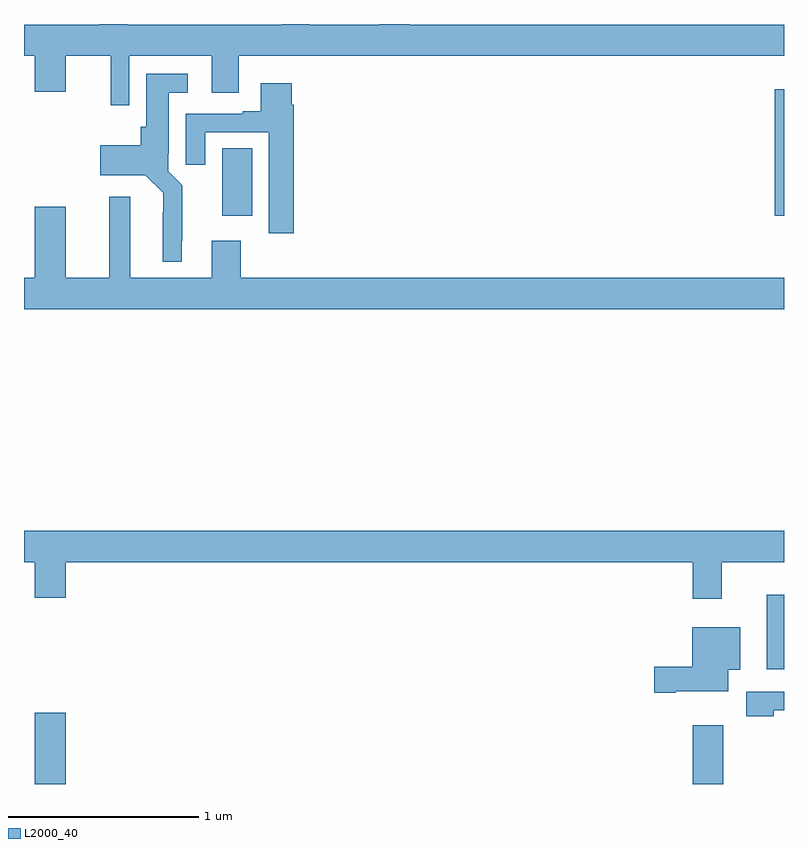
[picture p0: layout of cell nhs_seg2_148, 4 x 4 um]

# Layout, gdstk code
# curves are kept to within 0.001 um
import gdstk
lib = gdstk.Library(unit=1e-6, precision=1e-09)
def R(c, l, rs):  # rectangles x0, y0, x1, y1
    for r in rs: c.add(gdstk.rectangle(r[:2], r[2:], *l))
def P(c, l, *ps):  # polygons
    for p in ps: c.add(gdstk.Polygon(p, *l))
L2000_40 = (2000, 40)

nhs_seg2_148 = lib.new_cell('nhs_seg2_148')
R(nhs_seg2_148, L2000_40, [(117.056,647.8,117.22,648.175), (120.521,647.8,120.681,648.109), (120.908,648.404,121,648.796), (118.043,650.79,118.201,651.146), (120.95,650.79,121,651.457)])
P(nhs_seg2_148, L2000_40, [(117.555,651.632),(117.989,651.632),(117.989,651.438),(118.129,651.438),(118.129,651.632),(121,651.632),(121,651.796),(119.03,651.796),(119.03,651.8),(118.87,651.8),(118.87,651.796),(118.503,651.796),(118.503,651.8),(118.356,651.8),(118.356,651.796),(117.543,651.796),(117.543,651.8),(117.395,651.8),(117.395,651.796),(117,651.796),(117,651.632),(117.056,651.632),(117.056,651.444),(117.22,651.444),(117.22,651.632),(117.457,651.632),(117.457,651.372),(117.555,651.372)],
  [(117.829,650.659),(117.832,650.659),(117.832,650.951),(117.759,651.024),(117.759,651.118),(117.763,651.118),(117.763,651.437),(117.862,651.437),(117.862,651.538),(117.644,651.538),(117.644,651.258),(117.614,651.258),(117.614,651.163),(117.402,651.163),(117.402,651.005),(117.639,651.005),(117.732,650.912),(117.731,650.549),(117.829,650.549)],
  [(118.421,651.374),(118.408,651.374),(118.408,651.487),(118.247,651.487),(118.247,651.34),(118.151,651.34),(118.151,651.327),(117.851,651.327),(117.851,651.06),(117.955,651.06),(117.955,651.231),(118.289,651.231),(118.289,650.7),(118.421,650.7)],
  [(121,650.464),(118.142,650.464),(118.142,650.659),(117.989,650.659),(117.989,650.464),(117.559,650.464),(117.559,650.89),(117.449,650.89),(117.449,650.464),(117.22,650.464),(117.22,650.839),(117.056,650.839),(117.056,650.464),(117,650.464),(117,650.3),(121,650.3)],
  [(120.673,648.968),(121,648.968),(121,649.132),(117,649.132),(117,648.968),(117.056,648.968),(117.056,648.78),(117.22,648.78),(117.22,648.968),(120.521,648.968),(120.521,648.774),(120.673,648.774)],
  [(120.43,648.287),(120.706,648.287),(120.706,648.401),(120.769,648.401),(120.769,648.625),(120.518,648.625),(120.518,648.417),(120.318,648.417),(120.318,648.28),(120.43,648.28)],
  [(120.945,648.189),(121,648.189),(121,648.285),(120.801,648.285),(120.801,648.157),(120.945,648.157)])

lib.write_gds('nhs_seg2_148.gds')
